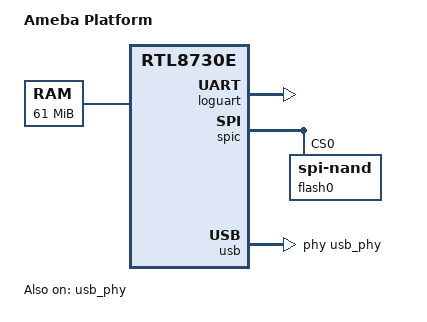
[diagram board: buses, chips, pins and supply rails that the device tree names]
/*
 * Realtek Semiconductor Corp.
 *
 * Device Tree Structure
 */

/dts-v1/;

#include <dt-bindings/realtek/ameba_ipc/ameba_ipc_resource.h>

/ {
	model = "Ameba Platform";
	compatible = "realtek,ameba";
	#address-cells = <1>;
	#size-cells = <1>;

	ocp {
		compatible = "simple-bus";
		#address-cells = <1>;
		#size-cells = <1>;
		ranges;

		loguart: dwapb@4200c000 {
			compatible = "realtek,ameba_serial";
			reg = <0x4200c000 0x100>;
			reg-shift = <2>;
			reg-io-width = <1>;
			clock-frequency = <40000000>;
		};

		spic: spi@44000000 {
			compatible = "realtek,rxi312-spi";
			#address-cells = <1>;
			#size-cells = <0>;
			bus_num = <2>;
			reg = <0x44000000 0x200>;
			spi-deactivate-delay = <0>;

			flash0: flash@0 {
				compatible = "spi-nand";
				reg = <0>;
			};
		};

		usb: usb@40080000 {
			compatible = "realtek,dwc-otg";
			reg = <0x40080000 0x20000>;
			g-rx-fifo-size = <512>;
			g-np-tx-fifo-size = <256>;
			g-tx-fifo-size = <128 120>;
			phys = <&usb_phy 0>;
			phy-names = "usb2-phy";
			status = "okay";
		};

		usb_phy: usb-phy@41000000 {
			compatible = "realtek,otg-phy";
			reg = <0x400B0004 0x20>,
				<0x41000060 4>,
				<0x42008200 0x100>;
			#phy-cells = <0>;
			status = "okay";
		};

		otp: otp@0 {
			compatible = "realtek,ameba-otp";
			reg = <AIPC_SHARED_MEM_ADDR AIPC_SHARED_MEM_SIZE>, // res 0
				<AIPC_REG_TX_DATA AIPC_REG_SIZE>, // res 1
				<AIPC_REG_RX_DATA AIPC_REG_SIZE>, // res 2
				<AIPC_REG_ISR AIPC_REG_SIZE>, // res 3
				<AIPC_REG_IMR AIPC_REG_SIZE>, // res 4
				<AIPC_REG_ICR AIPC_REG_SIZE>; // res 5
		};
	};

	memory {
		device_type = "memory";
		reg = <0x60300000 0x3D00000>; // Only cover the DRAM used by uboot. DRAM for kernel can be larger.
	};

	chosen {
		stdout-path = &loguart;
	};
};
